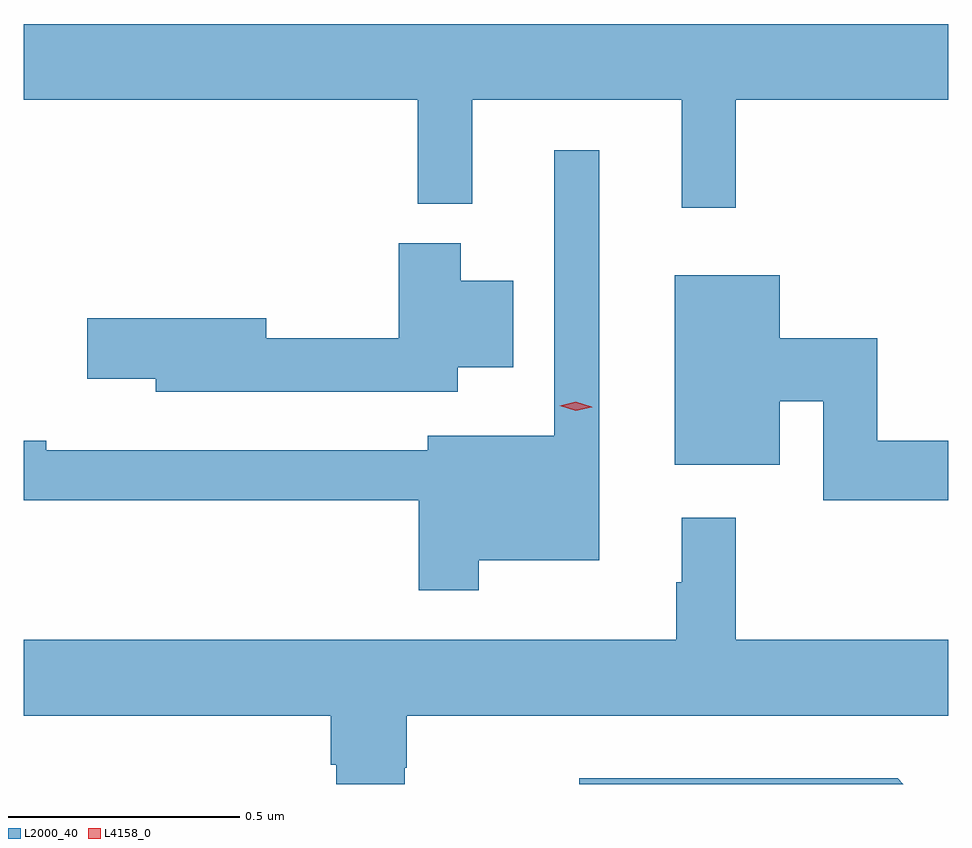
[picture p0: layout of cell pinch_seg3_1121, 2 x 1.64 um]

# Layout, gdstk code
import gdstk
lib = gdstk.Library(unit=1e-6, precision=1e-09)
def P(c, l, *ps):  # polygons
    for p in ps: c.add(gdstk.Polygon(p, *l))
L2000_40 = (2000, 40)
L4158_0 = (4158, 0)

pinch_seg3_1121 = lib.new_cell('pinch_seg3_1121')
P(pinch_seg3_1121, L2000_40, [(347.225,694.256),(347.685,694.256),(347.685,694.42),(345.685,694.42),(345.685,694.256),(346.537,694.256),(346.537,694.031),(346.655,694.031),(346.655,694.256),(347.108,694.256),(347.108,694.023),(347.225,694.023)],
  [(346.669,693.26),(346.93,693.26),(346.93,694.147),(346.833,694.147),(346.833,693.529),(346.559,693.529),(346.559,693.498),(345.734,693.498),(345.734,693.518),(345.685,693.518),(345.685,693.39),(346.54,693.39),(346.54,693.195),(346.669,693.195)],
  [(346.624,693.677),(346.744,693.677),(346.744,693.865),(346.63,693.865),(346.63,693.946),(346.496,693.946),(346.496,693.74),(346.21,693.74),(346.21,693.783),(345.822,693.783),(345.822,693.653),(345.971,693.653),(345.971,693.624),(346.624,693.624)],
  [(347.685,693.518),(347.531,693.518),(347.531,693.74),(347.32,693.74),(347.32,693.877),(347.093,693.877),(347.093,693.467),(347.32,693.467),(347.32,693.604),(347.415,693.604),(347.415,693.39),(347.685,693.39)],
  [(346.509,692.811),(346.514,692.811),(346.514,692.924),(347.685,692.924),(347.685,693.088),(347.225,693.088),(347.225,693.352),(347.108,693.352),(347.108,693.212),(347.097,693.212),(347.097,693.088),(345.685,693.088),(345.685,692.924),(346.349,692.924),(346.349,692.818),(346.361,692.818),(346.361,692.776),(346.509,692.776)],
  [(347.576,692.788),(346.887,692.788),(346.887,692.776),(347.588,692.776)])
P(pinch_seg3_1121, L4158_0, [(346.879,693.583),(346.844,693.594),(346.843,693.594),(346.844,693.594),(346.879,693.603),(346.914,693.592),(346.915,693.591),(346.914,693.591)])

lib.write_gds('pinch_seg3_1121.gds')
